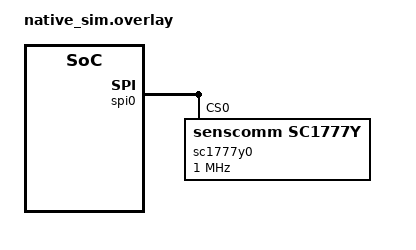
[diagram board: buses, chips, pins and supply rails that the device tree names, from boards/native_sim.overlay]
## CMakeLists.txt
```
# SPDX-FileCopyrightText: Copyright The Zephyr Project Contributors
# SPDX-License-Identifier: Apache-2.0

cmake_minimum_required(VERSION 3.20.0)
find_package(Zephyr REQUIRED HINTS $ENV{ZEPHYR_BASE})
project(sc1777y_secure_channel)

target_sources(app PRIVATE
	src/test_channel.c
	src/test_gateway.c
	src/test_protocol.c
	src/test_record.c)
target_include_directories(app PRIVATE
	${ZEPHYR_BASE}/subsys/net/lib/sc1777y_secure_channel)
```

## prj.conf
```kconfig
# SPDX-FileCopyrightText: Copyright The Zephyr Project Contributors
# SPDX-License-Identifier: Apache-2.0

CONFIG_ZTEST=y
CONFIG_EMUL=y
CONFIG_SPI=y
CONFIG_SPI_EMUL=y
CONFIG_SC1777Y=y
CONFIG_SC1777Y_EMUL=y
CONFIG_NETWORKING=y
CONFIG_NET_DRIVERS=y
CONFIG_NET_SOCKETS=y
CONFIG_NET_IPV4=y
CONFIG_NET_IPV6=y
CONFIG_NET_LOOPBACK=y
CONFIG_NET_TCP=y
CONFIG_NET_MAX_CONN=64
CONFIG_NET_MAX_CONTEXTS=64
CONFIG_SC1777Y_SECURE_CHANNEL=y
```

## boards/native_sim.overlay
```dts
/*
 * SPDX-FileCopyrightText: Copyright The Zephyr Project Contributors
 * SPDX-License-Identifier: Apache-2.0
 */

/ {
	aliases {
		sc1777y-0 = &sc1777y0;
	};
};

&spi0 {
	sc1777y0: sc1777y@0 {
		compatible = "senscomm,sc1777y";
		reg = <0>;
		spi-max-frequency = <1000000>;
	};
};
```

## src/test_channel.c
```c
/*
 * SPDX-FileCopyrightText: Copyright The Zephyr Project Contributors
 * SPDX-License-Identifier: Apache-2.0
 */

#include <string.h>

#include <zephyr/net/sc1777y_secure_channel.h>
#include <zephyr/ztest.h>

#include "test_gateway.h"

#define SC1777Y_NODE DT_ALIAS(sc1777y_0)

static const uint8_t certificate[] = {0x01};
static const uint8_t maximum_certificate[SC1777Y_SECURE_MAX_CERTIFICATE_LEN];
static const uint8_t platform_public_key[SC1777Y_PLATFORM_PUBLIC_KEY_LEN] = {0};
static const uint8_t zero_tx_work[SC1777Y_SECURE_MAX_HANDSHAKE_LEN];
static const uint8_t zero_rx_record[SC1777Y_SECURE_MAX_RECORD_LEN];
static const uint8_t zero_plain_cache[SC1777Y_SECURE_MAX_PLAINTEXT_CHUNK];

static struct sc1777y_secure_channel_config valid_config(struct sockaddr_in *gateway)
{
	*gateway = (struct sockaddr_in){
		.sin_family = AF_INET,
		.sin_port = htons(443),
		.sin_addr.s_addr = htonl(0x7f000001U),
	};

	return (struct sc1777y_secure_channel_config){
		.sc1777y = DEVICE_DT_GET(SC1777Y_NODE),
		.gateway = (const struct sockaddr *)gateway,
		.gateway_len = sizeof(*gateway),
		.connect_timeout_ms = 1000,
		.io_timeout_ms = 1000,
		.certificate = certificate,
		.certificate_len = sizeof(certificate),
		.platform_public_key = platform_public_key,
		.platform_type = SC1777Y_PLATFORM_NANRUI,
	};
}

static void test_channel_config(struct sc1777y_secure_channel_config *config,
				const struct sockaddr *gateway)
{
	struct sockaddr_in unused;

	*config = valid_config(&unused);
	config->gateway = gateway;
	config->gateway_len = sizeof(struct sockaddr_in);
}

static void assert_transient_state_cleared(const struct sc1777y_secure_channel *channel)
{
	zassert_mem_equal(channel->tx_work, zero_tx_work, sizeof(channel->tx_work));
	zassert_mem_equal(channel->rx_record, zero_rx_record, sizeof(channel->rx_record));
	zassert_mem_equal(channel->plain_cache, zero_plain_cache, sizeof(channel->plain_cache));
	zassert_equal(0, channel->header_used);
	zassert_equal(0, channel->record_expected);
	zassert_equal(0, channel->record_used);
	zassert_equal(0, channel->plain_offset);
	zassert_equal(0, channel->plain_len);
}

ZTEST(sc1777y_secure_channel, test_init_rejects_null_arguments)
{
	struct sc1777y_secure_channel channel;
	struct sc1777y_secure_channel_config config = {0};

	zassert_equal(-EINVAL, sc1777y_secure_channel_init(NULL, &config));
	zassert_equal(-EINVAL, sc1777y_secure_channel_init(&channel, NULL));
}

ZTEST(sc1777y_secure_channel, test_init_rejects_invalid_device_and_gateway)
{
	struct sc1777y_secure_channel channel;
	struct sockaddr_in gateway;
	struct sc1777y_secure_channel_config config = valid_config(&gateway);

	config.sc1777y = NULL;
	zassert_equal(-EINVAL, sc1777y_secure_channel_init(&channel, &config));

	config = valid_config(&gateway);
	config.gateway = NULL;
	zassert_equal(-EINVAL, sc1777y_secure_channel_init(&channel, &config));

	config = valid_config(&gateway);
	gateway.sin_family = AF_UNSPEC;
	zassert_equal(-EAFNOSUPPORT, sc1777y_secure_channel_init(&channel, &config));

	config = valid_config(&gateway);
	config.gateway_len = sizeof(gateway) - 1U;
	zassert_equal(-EINVAL, sc1777y_secure_channel_init(&channel, &config));
}

ZTEST(sc1777y_secure_channel, test_init_rejects_invalid_timeouts_and_credentials)
{
	struct sc1777y_secure_channel channel;
	struct sockaddr_in gateway;
	struct sc1777y_secure_channel_config config = valid_config(&gateway);

	config.connect_timeout_ms = 0;
	zassert_equal(-EINVAL, sc1777y_secure_channel_init(&channel, &config));

	config = valid_config(&gateway);
	config.io_timeout_ms = -1;
	zassert_equal(-EINVAL, sc1777y_secure_channel_init(&channel, &config));

	config = valid_config(&gateway);
	config.certificate = NULL;
	zassert_equal(-EINVAL, sc1777y_secure_channel_init(&channel, &config));

	config = valid_config(&gateway);
	config.certificate_len = 0;
	zassert_equal(-EINVAL, sc1777y_secure_channel_init(&channel, &config));

	config = valid_config(&gateway);
	config.certificate_len = SC1777Y_SECURE_MAX_CERTIFICATE_LEN + 1U;
	zassert_equal(-EMSGSIZE, sc1777y_secure_channel_init(&channel, &config));

	config = valid_config(&gateway);
	config.platform_public_key = NULL;
	zassert_equal(-EINVAL, sc1777y_secure_channel_init(&channel, &config));
}

ZTEST(sc1777y_secure_channel, test_init_accepts_maximum_certificate_length)
{
	struct sc1777y_secure_channel channel;
	struct sockaddr_in gateway;
	struct sc1777y_secure_channel_config config = valid_config(&gateway);

	config.certificate = maximum_certificate;
	config.certificate_len = sizeof(maximum_certificate);
	zassert_ok(sc1777y_secure_channel_init(&channel, &config));
}

ZTEST(sc1777y_secure_channel, test_init_rejects_unsupported_platform_types)
{
	struct sc1777y_secure_channel channel;
	struct sockaddr_in gateway;
	struct sc1777y_secure_channel_config config = valid_config(&gateway);

	config.platform_type = SC1777Y_PLATFORM_UNSET;
	zassert_equal(-EINVAL, sc1777y_secure_channel_init(&channel, &config));

	config = valid_config(&gateway);
	config.platform_type = (enum sc1777y_platform_type)3;
	zassert_equal(-EINVAL, sc1777y_secure_channel_init(&channel, &config));
}

ZTEST(sc1777y_secure_channel, test_init_copies_config_and_initializes_context)
{
	struct sc1777y_secure_channel channel;
	struct sockaddr_in gateway;
	struct sc1777y_secure_channel_config config = valid_config(&gateway);

	zassert_true(device_is_ready(config.sc1777y));
	zassert_ok(sc1777y_secure_channel_init(&channel, &config));
	zassert_not_equal(channel.config.gateway, config.gateway);
	zassert_equal(channel.config.gateway, (const struct sockaddr *)&channel.gateway_storage);
	zassert_mem_equal(channel.config.gateway, &gateway, sizeof(gateway));
	zassert_equal(channel.config.certificate, certificate);
	zassert_equal(channel.config.platform_public_key, platform_public_key);
	zassert_equal(channel.socket_fd, -1);
	zassert_equal(sc1777y_secure_channel_get_state(&channel),
		      SC1777Y_SECURE_CHANNEL_DISCONNECTED);
	zassert_equal(channel.header_used, 0);
	zassert_equal(channel.record_expected, 0);
	zassert_equal(channel.record_used, 0);
	zassert_equal(channel.plain_offset, 0);
	zassert_equal(channel.plain_len, 0);
	zassert_ok(k_mutex_lock(&channel.tx_lock, K_NO_WAIT));
	zassert_ok(k_mutex_unlock(&channel.tx_lock));
	zassert_ok(k_mutex_lock(&channel.rx_lock, K_NO_WAIT));
	zassert_ok(k_mutex_unlock(&channel.rx_lock));
	zassert_ok(k_mutex_lock(&channel.crypto_lock, K_NO_WAIT));
	zassert_ok(k_mutex_unlock(&channel.crypto_lock));
}

ZTEST(sc1777y_secure_channel, test_init_accepts_and_copies_ipv6_gateway)
{
	struct sc1777y_secure_channel channel;
	struct sockaddr_in gateway;
	struct sockaddr_in6 gateway6 = {
		.sin6_family = AF_INET6,
		.sin6_port = htons(443),
		.sin6_addr.s6_addr = {0, 0, 0, 0, 0, 0, 0, 0, 0, 0, 0, 0, 0, 0, 0, 1},
	};
	struct sc1777y_secure_channel_config config = valid_config(&gateway);

	config.gateway = (const struct sockaddr *)&gateway6;
	config.gateway_len = sizeof(gateway6);

	zassert_ok(sc1777y_secure_channel_init(&channel, &config));
	zassert_equal(channel.config.gateway, (const struct sockaddr *)&channel.gateway_storage);
	zassert_mem_equal(channel.config.gateway, &gateway6, sizeof(gateway6));
}

ZTEST(sc1777y_secure_channel, test_connect_completes_handshake_before_return)
{
	struct test_gateway gateway;
	struct sc1777y_secure_channel channel;
	struct sc1777y_secure_channel_config config;
	int ret;

	test_gateway_start(&gateway, TEST_GATEWAY_SUCCESS);
	test_channel_config(&config, test_gateway_address(&gateway));
	zassert_ok(sc1777y_secure_channel_init(&channel, &config));
	ret = sc1777y_secure_channel_connect(&channel);
	zassert_ok(ret, "connect failed: %d", ret);
	zassert_equal(SC1777Y_SECURE_CHANNEL_ESTABLISHED,
		      sc1777y_secure_channel_get_state(&channel));
	zassert_true(test_gateway_saw_confirm(&gateway));
	zassert_mem_equal(channel.tx_work, zero_tx_work, sizeof(channel.tx_work));
	zassert_ok(sc1777y_secure_channel_close(&channel));
}

ZTEST(sc1777y_secure_channel, test_blocking_handshake_timeout_fails_channel)
{
	struct test_gateway gateway;
	struct sc1777y_secure_channel channel;
	struct sc1777y_secure_channel_config config;

	test_gateway_start(&gateway, TEST_GATEWAY_HANDSHAKE_STALL);
	test_channel_config(&config, test_gateway_address(&gateway));
	config.io_timeout_ms = 50;
	zassert_ok(sc1777y_secure_channel_init(&channel, &config));
	memset(channel.tx_work, 0x5a, sizeof(channel.tx_work));
	zassert_equal(-ETIMEDOUT, sc1777y_secure_channel_connect(&channel));
	zassert_equal(SC1777Y_SECURE_CHANNEL_FAILED,
		      sc1777y_secure_channel_get_state(&channel));
	zassert_equal(-1, channel.socket_fd);
	assert_transient_state_cleared(&channel);
	test_gateway_wait(&gateway);
}

ZTEST(sc1777y_secure_channel, test_send_before_connect_returns_not_connected)
{
	struct sc1777y_secure_channel channel;
	struct sockaddr_in gateway;
	struct sc1777y_secure_channel_config config = valid_config(&gateway);
	const uint8_t byte = 0x5a;

	zassert_ok(sc1777y_secure_channel_init(&channel, &config));
	zassert_equal(-ENOTCONN, sc1777y_secure_channel_send(&channel, &byte, sizeof(byte)));
}

ZTEST(sc1777y_secure_channel, test_connect_rejects_an_established_channel)
{
	struct test_gateway gateway;
	struct sc1777y_secure_channel channel;
	struct sc1777y_secure_channel_config config;

	test_gateway_start(&gateway, TEST_GATEWAY_SUCCESS);
	test_channel_config(&config, test_gateway_address(&gateway));
	zassert_ok(sc1777y_secure_channel_init(&channel, &config));
	zassert_ok(sc1777y_secure_channel_connect(&channel));
	zassert_equal(-EALREADY, sc1777y_secure_channel_connect(&channel));
	zassert_equal(SC1777Y_SECURE_CHANNEL_ESTABLISHED,
		      sc1777y_secure_channel_get_state(&channel));
	zassert_ok(sc1777y_secure_channel_close(&channel));
	test_gateway_wait(&gateway);
}

ZTEST(sc1777y_secure_channel, test_close_is_idempotent_before_connect)
{
	struct sc1777y_secure_channel channel;
	struct sockaddr_in gateway;
	struct sc1777y_secure_channel_config config = valid_config(&gateway);

	zassert_ok(sc1777y_secure_channel_init(&channel, &config));
	memset(channel.tx_work, 0x5a, sizeof(channel.tx_work));
	memset(channel.rx_record, 0x5a, sizeof(channel.rx_record));
	memset(channel.plain_cache, 0x5a, sizeof(channel.plain_cache));
	channel.header_used = 1U;
	channel.record_expected = 36U;
	channel.record_used = 4U;
	channel.plain_offset = 1U;
	channel.plain_len = 2U;

	zassert_ok(sc1777y_secure_channel_close(&channel));
	zassert_equal(SC1777Y_SECURE_CHANNEL_CLOSED,
		      sc1777y_secure_channel_get_state(&channel));
	zassert_equal(-1, channel.socket_fd);
	assert_transient_state_cleared(&channel);

	zassert_ok(sc1777y_secure_channel_close(&channel));
	zassert_equal(SC1777Y_SECURE_CHANNEL_CLOSED,
		      sc1777y_secure_channel_get_state(&channel));
	assert_transient_state_cleared(&channel);
}

static void expect_gateway_failure(enum test_gateway_mode mode, int expected_error)
{
	struct test_gateway gateway;
	struct sc1777y_secure_channel channel;
	struct sc1777y_secure_channel_config config;
	int ret;

	test_gateway_start(&gateway, mode);
	test_channel_config(&config, test_gateway_address(&gateway));
	zassert_ok(sc1777y_secure_channel_init(&channel, &config));
	ret = sc1777y_secure_channel_connect(&channel);
	zassert_equal(expected_error, ret, "mode %d: expected %d, got %d", mode,
		      expected_error, ret);
	zassert_equal(SC1777Y_SECURE_CHANNEL_FAILED,
		      sc1777y_secure_channel_get_state(&channel));
	zassert_equal(-1, channel.socket_fd);
	test_gateway_wait(&gateway);
}

ZTEST(sc1777y_secure_channel, test_connect_rejects_malformed_responses)
{
	expect_gateway_failure(TEST_GATEWAY_WRONG_SUBTYPE, -EPROTO);
	expect_gateway_failure(TEST_GATEWAY_WRONG_LENGTH, -EPROTO);
	expect_gateway_failure(TEST_GATEWAY_WRONG_SN, -EPROTO);
}

ZTEST(sc1777y_secure_channel, test_connect_fails_when_response_is_short_or_peer_closes)
{
	expect_gateway_failure(TEST_GATEWAY_SHORT_RESPONSE, -ECONNRESET);
	expect_gateway_failure(TEST_GATEWAY_PEER_CLOSE, -ECONNRESET);
}

ZTEST(sc1777y_secure_channel, test_failed_connect_requires_close_before_reconnect)
{
	struct test_gateway gateway;
	struct sc1777y_secure_channel channel;
	struct sc1777y_secure_channel_config config;

	test_gateway_start(&gateway, TEST_GATEWAY_WRONG_SUBTYPE);
	test_channel_config(&config, test_gateway_address(&gateway));
	zassert_ok(sc1777y_secure_channel_init(&channel, &config));
	zassert_equal(-EPROTO, sc1777y_secure_channel_connect(&channel));
	test_gateway_wait(&gateway);
	zassert_equal(SC1777Y_SECURE_CHANNEL_FAILED,
		      sc1777y_secure_channel_get_state(&channel));
	zassert_equal(-EALREADY, sc1777y_secure_channel_connect(&channel));
	zassert_equal(SC1777Y_SECURE_CHANNEL_FAILED,
		      sc1777y_secure_channel_get_state(&channel));

	zassert_ok(sc1777y_secure_channel_close(&channel));
	test_gateway_start(&gateway, TEST_GATEWAY_SUCCESS);
	memcpy(&channel.gateway_storage, test_gateway_address(&gateway),
	       sizeof(struct sockaddr_in));
	zassert_ok(sc1777y_secure_channel_connect(&channel));
	zassert_equal(SC1777Y_SECURE_CHANNEL_ESTABLISHED,
		      sc1777y_secure_channel_get_state(&channel));
	zassert_ok(sc1777y_secure_channel_close(&channel));
	zassert_true(test_gateway_saw_confirm(&gateway));
}

ZTEST_SUITE(sc1777y_secure_channel, NULL, NULL, NULL, NULL, NULL);
```

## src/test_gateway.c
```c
/*
 * SPDX-FileCopyrightText: Copyright The Zephyr Project Contributors
 * SPDX-License-Identifier: Apache-2.0
 */

#include <errno.h>
#include <string.h>

#include <zephyr/sys/byteorder.h>
#include <zephyr/net/sc1777y_secure_channel.h>
#include <zephyr/ztest.h>

#include "test_gateway.h"

#define TEST_GATEWAY_RESPONSE_LEN 230U
#define TEST_GATEWAY_CONFIRM_LEN 184U
#define TEST_GATEWAY_RECORD_HEADER_LEN 4U
#define TEST_GATEWAY_RECORD_FIXED_LEN 20U
#define TEST_GATEWAY_CRYPTO_MASK 0xa5U

static int recv_exact(int fd, uint8_t *data, size_t len)
{
	size_t received = 0U;

	while (received < len) {
		ssize_t ret = zsock_recv(fd, &data[received], len - received, 0);

		if (ret > 0) {
			received += (size_t)ret;
			continue;
		}
		if (ret == 0) {
			return -ECONNRESET;
		}
		if (errno != EINTR) {
			return -errno;
		}
	}

	return 0;
}

static int send_all(int fd, const uint8_t *data, size_t len)
{
	size_t sent = 0U;

	while (sent < len) {
		ssize_t ret = zsock_send(fd, &data[sent], len - sent, 0);

		if (ret > 0) {
			sent += (size_t)ret;
			continue;
		}
		if (ret == 0) {
			return -ECONNRESET;
		}
		if (errno != EINTR) {
			return -errno;
		}
	}

	return 0;
}

static int send_fragmented_response(int fd, const uint8_t *response, size_t len)
{
	static const size_t fragment_sizes[] = {1U, 3U, 17U};
	size_t offset = 0U;
	int ret;

	for (size_t i = 0U; i < ARRAY_SIZE(fragment_sizes); ++i) {
		ret = send_all(fd, &response[offset], fragment_sizes[i]);
		if (ret < 0) {
			return ret;
		}
		offset += fragment_sizes[i];
		k_yield();
	}

	return send_all(fd, &response[offset], len - offset);
}

static int decode_plaintext(const uint8_t *record, size_t record_len, uint8_t *plaintext,
			    size_t plaintext_size, size_t *plaintext_len)
{
	size_t ciphertext_len;
	size_t marker;

	if ((record_len < TEST_GATEWAY_RECORD_FIXED_LEN) || (record[0] != 2U) ||
	    (record[1] != 0U) || (sys_get_be16(&record[2]) != record_len)) {
		return -EPROTO;
	}

	ciphertext_len = record_len - TEST_GATEWAY_RECORD_FIXED_LEN;
	if ((ciphertext_len == 0U) || ((ciphertext_len % SC1777Y_IV_LEN) != 0U) ||
	    (ciphertext_len > plaintext_size)) {
		return -EBADMSG;
	}

	for (size_t i = 0U; i < ciphertext_len; ++i) {
		plaintext[i] = record[TEST_GATEWAY_RECORD_FIXED_LEN + i] ^
			       TEST_GATEWAY_CRYPTO_MASK;
	}

	marker = ciphertext_len;
	while ((marker > 0U) && (plaintext[marker - 1U] == 0U)) {
		--marker;
	}
	if ((marker == 0U) || (plaintext[marker - 1U] != 0x80U) ||
	    (ciphertext_len - marker >= SC1777Y_IV_LEN)) {
		return -EBADMSG;
	}

	*plaintext_len = marker - 1U;
	return 0;
}

static size_t encode_record(const uint8_t *plaintext, size_t plaintext_len, uint8_t *record);

static int run_record_echo(struct test_gateway *gateway, int client_fd, uint8_t *record,
			   size_t record_size)
{
	uint8_t plaintext[SC1777Y_SECURE_MAX_CIPHERTEXT_LEN];
	size_t echo_offset = 0U;

	while (gateway->record_data_len < gateway->expected_plaintext_len) {
		size_t plaintext_len;
		size_t record_len;
		int ret;

		ret = recv_exact(client_fd, record, TEST_GATEWAY_RECORD_HEADER_LEN);
		if (ret < 0) {
			return ret;
		}
		record_len = sys_get_be16(&record[2]);
		if ((record_len < TEST_GATEWAY_RECORD_FIXED_LEN) || (record_len > record_size)) {
			return -EPROTO;
		}
		ret = recv_exact(client_fd, &record[TEST_GATEWAY_RECORD_HEADER_LEN],
				 record_len - TEST_GATEWAY_RECORD_HEADER_LEN);
		if (ret < 0) {
			return ret;
		}
		ret = decode_plaintext(record, record_len, plaintext, sizeof(plaintext),
				       &plaintext_len);
		if (ret < 0) {
			return ret;
		}
		if (plaintext_len > sizeof(gateway->record_data) - gateway->record_data_len) {
			return -EMSGSIZE;
		}
		memcpy(&gateway->record_data[gateway->record_data_len], plaintext, plaintext_len);
		gateway->record_data_len += plaintext_len;
		gateway->record_count++;
	}

	while (echo_offset < gateway->record_data_len) {
		size_t chunk_len = MIN(gateway->record_data_len - echo_offset,
				       SC1777Y_SECURE_MAX_PLAINTEXT_CHUNK);
		size_t record_len = encode_record(&gateway->record_data[echo_offset], chunk_len,
						  record);
		int ret = send_all(client_fd, record, record_len);

		if (ret < 0) {
			return ret;
		}
		echo_offset += chunk_len;
	}

	return 0;
}

static size_t encode_record(const uint8_t *plaintext, size_t plaintext_len, uint8_t *record)
{
	size_t ciphertext_len = ROUND_UP(plaintext_len + 1U, SC1777Y_IV_LEN);
	size_t record_len = TEST_GATEWAY_RECORD_FIXED_LEN + ciphertext_len;

	record[0] = 2U;
	record[1] = 0U;
	sys_put_be16((uint16_t)record_len, &record[2]);
	memset(&record[4], 0x3c, SC1777Y_IV_LEN);
	for (size_t i = 0U; i < ciphertext_len; ++i) {
		uint8_t padded = 0U;

		if (i < plaintext_len) {
			padded = plaintext[i];
		} else if (i == plaintext_len) {
			padded = 0x80U;
		}

		record[TEST_GATEWAY_RECORD_FIXED_LEN + i] = padded ^ TEST_GATEWAY_CRYPTO_MASK;
	}

	return record_len;
}

static int wait_for_peer_close(int client_fd)
{
	uint8_t byte;

	for (;;) {
		ssize_t ret = zsock_recv(client_fd, &byte, sizeof(byte), 0);

		if (ret == 0) {
			return 0;
		}
		if ((ret < 0) && (errno != EINTR)) {
			return -errno;
		}
	}
}

static int run_record_send(struct test_gateway *gateway, int client_fd, uint8_t *record)
{
	size_t offset = 0U;
	int ret;

	if (gateway->mode == TEST_GATEWAY_RECORD_HEADER_STALL) {
		return wait_for_peer_close(client_fd);
	}

	if (gateway->mode == TEST_GATEWAY_RECORD_PARTIAL_STALL) {
		(void)encode_record((const uint8_t *)"partial", 7U, record);

		ret = send_all(client_fd, record, TEST_GATEWAY_RECORD_HEADER_LEN + 3U);
		return ret < 0 ? ret : wait_for_peer_close(client_fd);
	}

	if (gateway->mode == TEST_GATEWAY_RECORD_BAD_PADDING) {
		memset(record, 0, 36U);
		record[0] = 2U;
		sys_put_be16(36U, &record[2]);
		memset(&record[4], 0x3c, SC1777Y_IV_LEN);
		memset(&record[TEST_GATEWAY_RECORD_FIXED_LEN], TEST_GATEWAY_CRYPTO_MASK,
		       SC1777Y_IV_LEN);
		ret = send_all(client_fd, record, 36U);
		return ret < 0 ? ret : wait_for_peer_close(client_fd);
	}

	if (gateway->mode == TEST_GATEWAY_RECORD_BAD_LENGTH) {
		memset(record, 0, 35U);
		record[0] = 2U;
		sys_put_be16(35U, &record[2]);
		memset(&record[4], 0x3c, SC1777Y_IV_LEN);
		ret = send_all(client_fd, record, 35U);
		return ret < 0 ? ret : wait_for_peer_close(client_fd);
	}

	if (gateway->mode == TEST_GATEWAY_RECORD_HALF_CLOSE) {
		memset(record, 0, 28U);
		record[0] = 2U;
		sys_put_be16(36U, &record[2]);
		memset(&record[4], 0x3c, SC1777Y_IV_LEN);
		return send_all(client_fd, record, 28U);
	}

	if (gateway->mode == TEST_GATEWAY_RECORD_EMPTY) {
		size_t record_len = encode_record(NULL, 0U, record);

		ret = send_all(client_fd, record, record_len);
		return ret < 0 ? ret : wait_for_peer_close(client_fd);
	}

	ret = k_sem_take(&gateway->record_ready, K_SECONDS(2));
	if (ret < 0) {
		return ret;
	}

	if (gateway->mode == TEST_GATEWAY_RECORD_COALESCED) {
		size_t wire_len = 0U;

		while (offset < gateway->record_data_len) {
			size_t chunk_len = MIN(gateway->record_data_len - offset,
					       SC1777Y_SECURE_MAX_PLAINTEXT_CHUNK);

			wire_len += encode_record(&gateway->record_data[offset], chunk_len,
						  &record[wire_len]);
			gateway->record_count++;
			offset += chunk_len;
		}
		ret = send_all(client_fd, record, wire_len);
		return ret < 0 ? ret : wait_for_peer_close(client_fd);
	}

	while (offset < gateway->record_data_len) {
		size_t chunk_len = MIN(gateway->record_data_len - offset,
				       SC1777Y_SECURE_MAX_PLAINTEXT_CHUNK);
		size_t record_len = encode_record(&gateway->record_data[offset], chunk_len, record);

		if (gateway->mode == TEST_GATEWAY_RECORD_FRAGMENTED) {
			ret = send_all(client_fd, record, 1U);
			if (ret == 0) {
				k_sem_give(&gateway->fragment_started);
				ret = k_sem_take(&gateway->fragment_continue, K_SECONDS(2));
			}
			for (size_t i = 1U; (ret == 0) && (i < record_len); ++i) {
				ret = send_all(client_fd, &record[i], 1U);
				k_yield();
			}
		} else {
			ret = send_all(client_fd, record, record_len);
		}
		if (ret < 0) {
			return ret;
		}
		gateway->record_count++;
		offset += chunk_len;
	}

	return wait_for_peer_close(client_fd);
}

static int run_gateway(struct test_gateway *gateway)
{
	uint8_t request[SC1777Y_SECURE_MAX_HANDSHAKE_LEN];
	uint8_t response[TEST_GATEWAY_RESPONSE_LEN] = {0};
	uint8_t confirm[TEST_GATEWAY_CONFIRM_LEN];
	uint16_t request_len;
	uint16_t request_sn;
	int client_fd;
	int ret;

	client_fd = zsock_accept(gateway->listen_fd, NULL, NULL);
	if (client_fd < 0) {
		return -errno;
	}
	gateway->connection_count++;

	ret = recv_exact(client_fd, request, 4U);
	if (ret < 0) {
		goto out;
	}

	request_len = sys_get_be16(&request[2]);
	if ((request_len < 8U) || (request_len > sizeof(request))) {
		ret = -EPROTO;
		goto out;
	}

	ret = recv_exact(client_fd, &request[4], request_len - 4U);
	if (ret < 0) {
		goto out;
	}

	if (gateway->mode == TEST_GATEWAY_PEER_CLOSE) {
		ret = 0;
		goto out;
	}
	if (gateway->mode == TEST_GATEWAY_HANDSHAKE_STALL) {
		ret = wait_for_peer_close(client_fd);
		goto out;
	}

	request_sn = sys_get_be16(&request[6]);
	response[0] = 1U;
	response[1] = gateway->mode == TEST_GATEWAY_WRONG_SUBTYPE ? 3U : 2U;
	sys_put_be16(gateway->mode == TEST_GATEWAY_WRONG_LENGTH ?
			     TEST_GATEWAY_RESPONSE_LEN - 1U : TEST_GATEWAY_RESPONSE_LEN,
		     &response[2]);
	sys_put_be16(gateway->mode == TEST_GATEWAY_WRONG_SN ? request_sn : request_sn + 1U,
		     &response[4]);
	for (size_t i = 6U; i < sizeof(response); ++i) {
		response[i] = (uint8_t)i;
	}

	if (gateway->mode == TEST_GATEWAY_SHORT_RESPONSE) {
		ret = send_all(client_fd, response, 21U);
		goto out;
	}

	ret = send_fragmented_response(client_fd, response, sizeof(response));
	if (ret < 0) {
		goto out;
	}

	if ((gateway->mode == TEST_GATEWAY_WRONG_SUBTYPE) ||
	    (gateway->mode == TEST_GATEWAY_WRONG_LENGTH) ||
	    (gateway->mode == TEST_GATEWAY_WRONG_SN)) {
		ret = 0;
		goto out;
	}

	ret = recv_exact(client_fd, confirm, sizeof(confirm));
	if (ret == 0) {
		gateway->saw_confirm = true;
	}
	if (ret < 0) {
		goto out;
	}
	if (gateway->mode == TEST_GATEWAY_RECORD_SEND_STALL) {
		k_msleep(250);
		ret = 0;
		goto out;
	}

	if (gateway->mode == TEST_GATEWAY_RECORD_ECHO) {
		ret = run_record_echo(gateway, client_fd, request, sizeof(request));
		if (ret == 0) {
			ret = wait_for_peer_close(client_fd);
		}
	} else if (gateway->mode == TEST_GATEWAY_RECORD_RECONNECT) {
		if (gateway->connection_count == 1U) {
			ret = run_record_send(gateway, client_fd, request);
		} else {
			ret = wait_for_peer_close(client_fd);
		}
	} else if (((gateway->mode >= TEST_GATEWAY_RECORD_SEND) &&
		    (gateway->mode <= TEST_GATEWAY_RECORD_EMPTY)) ||
		   (gateway->mode == TEST_GATEWAY_RECORD_HEADER_STALL) ||
		   (gateway->mode == TEST_GATEWAY_RECORD_PARTIAL_STALL)) {
		ret = run_record_send(gateway, client_fd, request);
	}

out:
	(void)zsock_close(client_fd);
	return ret;
}

static void gateway_thread(void *arg1, void *arg2, void *arg3)
{
	struct test_gateway *gateway = arg1;

	ARG_UNUSED(arg2);
	ARG_UNUSED(arg3);
	gateway->result = run_gateway(gateway);
	if ((gateway->result == 0) && (gateway->mode == TEST_GATEWAY_RECORD_RECONNECT)) {
		gateway->result = run_gateway(gateway);
	}
	(void)zsock_close(gateway->listen_fd);
	gateway->listen_fd = -1;
	k_sem_give(&gateway->done);
}

void test_gateway_start(struct test_gateway *gateway, enum test_gateway_mode mode)
{
	static uint16_t next_port = 42420U;
	socklen_t address_len = sizeof(gateway->address);
	uint16_t port = next_port++;

	memset(gateway, 0, sizeof(*gateway));
	gateway->mode = mode;
	gateway->listen_fd = zsock_socket(AF_INET, SOCK_STREAM, IPPROTO_TCP);
	zassert_true(gateway->listen_fd >= 0, "socket failed: %d", errno);

	gateway->address = (struct sockaddr_in){
		.sin_family = AF_INET,
		.sin_port = htons(port),
		.sin_addr.s_addr = htonl(0x7f000001U),
	};
	zassert_ok(zsock_bind(gateway->listen_fd,
			      (const struct sockaddr *)&gateway->address,
			      sizeof(gateway->address)),
		   "bind failed: %d", errno);
	zassert_ok(zsock_getsockname(gateway->listen_fd,
				     (struct sockaddr *)&gateway->address, &address_len),
		   "getsockname failed: %d", errno);
	zassert_ok(zsock_listen(gateway->listen_fd, 1), "listen failed: %d", errno);
	k_sem_init(&gateway->done, 0, 1);
	k_sem_init(&gateway->record_ready, 0, 1);
	k_sem_init(&gateway->fragment_started, 0, 1);
	k_sem_init(&gateway->fragment_continue, 0, 1);

	k_thread_create(&gateway->thread, gateway->stack,
			K_KERNEL_STACK_SIZEOF(gateway->stack), gateway_thread, gateway, NULL,
			NULL, K_PRIO_PREEMPT(0), 0, K_NO_WAIT);
}

const struct sockaddr *test_gateway_address(const struct test_gateway *gateway)
{
	return (const struct sockaddr *)&gateway->address;
}

void test_gateway_wait(struct test_gateway *gateway)
{
	if (gateway->joined) {
		return;
	}

	zassert_ok(k_sem_take(&gateway->done, K_SECONDS(2)), "gateway did not finish");
	zassert_ok(k_thread_join(&gateway->thread, K_SECONDS(2)), "gateway did not join");
	gateway->joined = true;
	zassert_ok(gateway->result, "gateway failed: %d", gateway->result);
}

bool test_gateway_saw_confirm(struct test_gateway *gateway)
{
	test_gateway_wait(gateway);
	return gateway->saw_confirm;
}

void test_gateway_expect_plaintext(struct test_gateway *gateway, size_t len)
{
	zassert_true(len <= sizeof(gateway->record_data));
	gateway->expected_plaintext_len = len;
}

void test_gateway_queue_plaintext(struct test_gateway *gateway, const uint8_t *data, size_t len)
{
	zassert_not_null(data);
	zassert_true(len <= sizeof(gateway->record_data));
	memcpy(gateway->record_data, data, len);
	gateway->record_data_len = len;
	k_sem_give(&gateway->record_ready);
}

void test_gateway_wait_fragment(struct test_gateway *gateway)
{
	zassert_ok(k_sem_take(&gateway->fragment_started, K_SECONDS(2)),
		   "gateway did not send first fragment");
}

void test_gateway_release_fragment(struct test_gateway *gateway)
{
	k_sem_give(&gateway->fragment_continue);
}

size_t test_gateway_record_count(const struct test_gateway *gateway)
{
	return gateway->record_count;
}

const uint8_t *test_gateway_record_data(const struct test_gateway *gateway)
{
	return gateway->record_data;
}
```

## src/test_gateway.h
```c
/*
 * SPDX-FileCopyrightText: Copyright The Zephyr Project Contributors
 * SPDX-License-Identifier: Apache-2.0
 */

#ifndef ZEPHYR_TESTS_NET_LIB_SC1777Y_SECURE_CHANNEL_UNIT_TEST_GATEWAY_H_
#define ZEPHYR_TESTS_NET_LIB_SC1777Y_SECURE_CHANNEL_UNIT_TEST_GATEWAY_H_

#include <stdbool.h>

#include <zephyr/kernel.h>
#include <zephyr/net/socket.h>

enum test_gateway_mode {
	TEST_GATEWAY_SUCCESS,
	TEST_GATEWAY_RECORD_ECHO,
	TEST_GATEWAY_RECORD_SEND,
	TEST_GATEWAY_RECORD_FRAGMENTED,
	TEST_GATEWAY_RECORD_COALESCED,
	TEST_GATEWAY_RECORD_BAD_PADDING,
	TEST_GATEWAY_RECORD_BAD_LENGTH,
	TEST_GATEWAY_RECORD_HALF_CLOSE,
	TEST_GATEWAY_RECORD_EMPTY,
	TEST_GATEWAY_RECORD_RECONNECT,
	TEST_GATEWAY_WRONG_SUBTYPE,
	TEST_GATEWAY_WRONG_LENGTH,
	TEST_GATEWAY_WRONG_SN,
	TEST_GATEWAY_SHORT_RESPONSE,
	TEST_GATEWAY_PEER_CLOSE,
	TEST_GATEWAY_HANDSHAKE_STALL,
	TEST_GATEWAY_RECORD_HEADER_STALL,
	TEST_GATEWAY_RECORD_PARTIAL_STALL,
	TEST_GATEWAY_RECORD_SEND_STALL,
};

struct test_gateway {
	struct sockaddr_in address;
	int listen_fd;
	int result;
	enum test_gateway_mode mode;
	bool saw_confirm;
	bool joined;
	size_t expected_plaintext_len;
	size_t record_data_len;
	size_t record_count;
	size_t connection_count;
	uint8_t record_data[4096];
	struct k_sem done;
	struct k_sem record_ready;
	struct k_sem fragment_started;
	struct k_sem fragment_continue;
	struct k_thread thread;

	K_KERNEL_STACK_MEMBER(stack, 8192);
};

void test_gateway_start(struct test_gateway *gateway, enum test_gateway_mode mode);
const struct sockaddr *test_gateway_address(const struct test_gateway *gateway);
bool test_gateway_saw_confirm(struct test_gateway *gateway);
void test_gateway_expect_plaintext(struct test_gateway *gateway, size_t len);
void test_gateway_queue_plaintext(struct test_gateway *gateway, const uint8_t *data, size_t len);
void test_gateway_wait_fragment(struct test_gateway *gateway);
void test_gateway_release_fragment(struct test_gateway *gateway);
size_t test_gateway_record_count(const struct test_gateway *gateway);
const uint8_t *test_gateway_record_data(const struct test_gateway *gateway);
void test_gateway_wait(struct test_gateway *gateway);

#endif /* ZEPHYR_TESTS_NET_LIB_SC1777Y_SECURE_CHANNEL_UNIT_TEST_GATEWAY_H_ */
```

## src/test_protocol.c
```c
/*
 * SPDX-FileCopyrightText: Copyright The Zephyr Project Contributors
 * SPDX-License-Identifier: Apache-2.0
 */

#include <errno.h>
#include <string.h>

#include "secure_channel_internal.h"
#include <zephyr/sys/byteorder.h>
#include <zephyr/ztest.h>

#define REQUEST_BODY_FIXED_LEN 170U
#define REQUEST_FIXED_LEN 234U
#define RESPONSE_LEN 230U
#define CONFIRM_LEN 184U
#define RECORD_FIXED_LEN 20U

static void fill_sequence(uint8_t *buf, size_t len, uint8_t first)
{
	for (size_t i = 0U; i < len; ++i) {
		buf[i] = first + i;
	}
}

ZTEST(sc1777y_secure_protocol, test_pad_full_block_adds_another_block)
{
	uint8_t buf[32] = {0};
	size_t padded_len = 0;

	zassert_ok(sc1777y_secure_pad(buf, 16, sizeof(buf), &padded_len));
	zassert_equal(32, padded_len);
	zassert_equal(0x80, buf[16]);
	zassert_mem_equal((uint8_t[15]) { 0 }, &buf[17], 15);
}

ZTEST(sc1777y_secure_protocol, test_pad_and_unpad_boundary_lengths)
{
	static const size_t lengths[] = {1U, 15U, 16U, 17U, 2047U};
	static const uint8_t zeros[16];
	uint8_t buf[SC1777Y_SECURE_MAX_CIPHERTEXT_LEN];

	for (size_t i = 0U; i < ARRAY_SIZE(lengths); ++i) {
		size_t padded_len = 0U;
		size_t plain_len = 0U;
		size_t expected_len = ROUND_UP(lengths[i] + 1U, SC1777Y_IV_LEN);

		memset(buf, 0x5a, sizeof(buf));
		zassert_ok(sc1777y_secure_pad(buf, lengths[i], sizeof(buf), &padded_len));
		zassert_equal(expected_len, padded_len);
		zassert_equal(0x80, buf[lengths[i]]);
		zassert_mem_equal(zeros, &buf[lengths[i] + 1U],
				  padded_len - lengths[i] - 1U);
		zassert_ok(sc1777y_secure_unpad(buf, padded_len, &plain_len));
		zassert_equal(lengths[i], plain_len);
	}
}

ZTEST(sc1777y_secure_protocol, test_padding_rejects_truncation_and_malformed_data)
{
	uint8_t short_buf[16] = {0};
	uint8_t all_zero[16] = {0};
	uint8_t wrong_marker[16] = {0x55};
	uint8_t excessive_padding[32] = {[0] = 0x80};
	size_t len = 0U;

	zassert_equal(-EMSGSIZE,
		      sc1777y_secure_pad(short_buf, sizeof(short_buf), sizeof(short_buf), &len));
	zassert_equal(-EBADMSG, sc1777y_secure_unpad(all_zero, sizeof(all_zero), &len));
	zassert_equal(-EBADMSG, sc1777y_secure_unpad(wrong_marker, sizeof(wrong_marker), &len));
	zassert_equal(-EBADMSG, sc1777y_secure_unpad(wrong_marker, 15U, &len));
	zassert_equal(-EBADMSG,
		      sc1777y_secure_unpad(excessive_padding, sizeof(excessive_padding), &len));
}

ZTEST(sc1777y_secure_protocol, test_request_golden_layout_and_network_byte_order)
{
	static const uint8_t certificate[] = {0xc0, 0xc1, 0xc2};
	static const uint8_t expected_header[] = {
		0x01, 0x01, 0x00, 0xed, 0x01, 0x00, 0x12, 0x34,
	};
	static const uint8_t signature[SC1777Y_SIGNATURE_LEN] = {[0] = 0xa5, [63] = 0x5a};
	struct sc1777y_secure_channel_config config = {
		.certificate = certificate,
		.certificate_len = sizeof(certificate),
	};
	uint8_t en_r1[SC1777Y_SESSION_RANDOM_LEN];
	uint8_t request[REQUEST_FIXED_LEN + sizeof(certificate)];
	size_t body_len = 0U;
	size_t request_len = 0U;

	fill_sequence(config.sim, sizeof(config.sim), 0x10);
	fill_sequence(config.device_id, sizeof(config.device_id), 0x30);
	fill_sequence(en_r1, sizeof(en_r1), 0x80);
	zassert_ok(sc1777y_secure_encode_request_body(&config, 0x1234, en_r1, request,
						       sizeof(request), &body_len));
	zassert_equal(REQUEST_BODY_FIXED_LEN + sizeof(certificate), body_len);
	zassert_mem_equal(expected_header, request, sizeof(expected_header));
	zassert_mem_equal(config.sim, &request[8], sizeof(config.sim));
	zassert_mem_equal(config.device_id, &request[24], sizeof(config.device_id));
	zassert_mem_equal(certificate, &request[42], sizeof(certificate));
	zassert_mem_equal(en_r1, &request[45], sizeof(en_r1));

	zassert_ok(sc1777y_secure_append_signature(request, sizeof(request), body_len,
						    signature, &request_len));
	zassert_equal(REQUEST_FIXED_LEN + sizeof(certificate), request_len);
	zassert_mem_equal(signature, &request[body_len], sizeof(signature));
}

ZTEST(sc1777y_secure_protocol, test_request_rejects_truncation)
{
	static const uint8_t certificate[] = {1U};
	struct sc1777y_secure_channel_config config = {
		.certificate = certificate,
		.certificate_len = sizeof(certificate),
	};
	uint8_t en_r1[SC1777Y_SESSION_RANDOM_LEN] = {0};
	uint8_t request[REQUEST_BODY_FIXED_LEN];
	uint8_t signature[SC1777Y_SIGNATURE_LEN] = {0};
	size_t len = 0U;

	zassert_equal(-EMSGSIZE,
		      sc1777y_secure_encode_request_body(&config, 1U, en_r1, request,
							 sizeof(request), &len));
	config.certificate_len = SC1777Y_SECURE_MAX_CERTIFICATE_LEN + 1U;
	zassert_equal(-EMSGSIZE,
		      sc1777y_secure_encode_request_body(&config, 1U, en_r1, request,
							 sizeof(request), &len));
	zassert_equal(-EMSGSIZE,
		      sc1777y_secure_append_signature(request, sizeof(request), sizeof(request),
						      signature, &len));
}

ZTEST(sc1777y_secure_protocol, test_decode_response_golden_layout)
{
	uint8_t response[RESPONSE_LEN] = {0x01, 0x02, 0x00, 0xe6, 0x12, 0x35};
	struct sc1777y_secure_handshake_response parsed;

	fill_sequence(&response[6], SC1777Y_AUTH_FACTOR_LEN, 0x10);
	fill_sequence(&response[38], SC1777Y_SESSION_RANDOM_LEN, 0x40);
	fill_sequence(&response[166], SC1777Y_SIGNATURE_LEN, 0xc0);
	zassert_ok(sc1777y_secure_decode_response(response, sizeof(response), 0x1234,
						    &parsed));
	zassert_equal(0x1235, parsed.sn);
	zassert_mem_equal(&response[6], parsed.auth_factor, sizeof(parsed.auth_factor));
	zassert_mem_equal(&response[38], parsed.en_r2, sizeof(parsed.en_r2));
	zassert_mem_equal(&response[166], parsed.signature, sizeof(parsed.signature));
}

ZTEST(sc1777y_secure_protocol, test_decode_response_rejects_wrong_sn)
{
	uint8_t response[230] = {0x01, 0x02, 0x00, 0xE6, 0x12, 0x35};
	struct sc1777y_secure_handshake_response parsed;

	zassert_equal(-EPROTO,
		sc1777y_secure_decode_response(response, sizeof(response), 0x1233, &parsed));
}

ZTEST(sc1777y_secure_protocol, test_decode_response_rejects_wrong_header_or_size)
{
	uint8_t response[RESPONSE_LEN] = {0x01, 0x02, 0x00, 0xe6, 0x00, 0x02};
	struct sc1777y_secure_handshake_response parsed;

	zassert_equal(-EPROTO,
		      sc1777y_secure_decode_response(response, sizeof(response) - 1U, 1U,
						      &parsed));
	response[0] = 2U;
	zassert_equal(-EPROTO,
		      sc1777y_secure_decode_response(response, sizeof(response), 1U, &parsed));
	response[0] = 1U;
	response[1] = 3U;
	zassert_equal(-EPROTO,
		      sc1777y_secure_decode_response(response, sizeof(response), 1U, &parsed));
	response[1] = 2U;
	response[3] = 0xe5;
	zassert_equal(-EPROTO,
		      sc1777y_secure_decode_response(response, sizeof(response), 1U, &parsed));
}

ZTEST(sc1777y_secure_protocol, test_confirm_golden_layout_and_network_byte_order)
{
	static const uint8_t expected_header[] = {0x01, 0x03, 0x00, 0xb8, 0x12, 0x36};
	uint8_t auth_result[SC1777Y_AUTH_RESPONSE_LEN];
	uint8_t dk_hash[SC1777Y_SESSION_DKHASH_LEN];
	uint8_t confirm[CONFIRM_LEN];
	size_t confirm_len = 0U;

	fill_sequence(auth_result, sizeof(auth_result), 0x10);
	fill_sequence(dk_hash, sizeof(dk_hash), 0xb0);
	zassert_ok(sc1777y_secure_encode_confirm(0x1234, auth_result, dk_hash, confirm,
						  sizeof(confirm), &confirm_len));
	zassert_equal(CONFIRM_LEN, confirm_len);
	zassert_mem_equal(expected_header, confirm, sizeof(expected_header));
	zassert_mem_equal(auth_result, &confirm[6], sizeof(auth_result));
	zassert_mem_equal(dk_hash, &confirm[152], sizeof(dk_hash));

	zassert_equal(-EMSGSIZE,
		      sc1777y_secure_encode_confirm(0x1234, auth_result, dk_hash, confirm,
						     sizeof(confirm) - 1U, &confirm_len));
}

ZTEST(sc1777y_secure_protocol, test_record_golden_layout_and_network_byte_order)
{
	static const uint8_t expected_header[] = {0x02, 0x00, 0x00, 0x34};
	uint8_t iv[SC1777Y_IV_LEN];
	uint8_t ciphertext[32];
	uint8_t record[RECORD_FIXED_LEN + sizeof(ciphertext)];
	size_t record_len = 0U;
	size_t decoded_record_len = 0U;
	size_t decoded_ciphertext_len = 0U;

	fill_sequence(iv, sizeof(iv), 0x20);
	fill_sequence(ciphertext, sizeof(ciphertext), 0x60);
	zassert_ok(sc1777y_secure_encode_record(iv, ciphertext, sizeof(ciphertext), record,
						 sizeof(record), &record_len));
	zassert_equal(RECORD_FIXED_LEN + sizeof(ciphertext), record_len);
	zassert_mem_equal(expected_header, record, sizeof(expected_header));
	zassert_mem_equal(iv, &record[4], sizeof(iv));
	zassert_mem_equal(ciphertext, &record[20], sizeof(ciphertext));
	zassert_ok(sc1777y_secure_decode_record_header(record, &decoded_record_len,
							 &decoded_ciphertext_len));
	zassert_equal(record_len, decoded_record_len);
	zassert_equal(sizeof(ciphertext), decoded_ciphertext_len);
}

ZTEST(sc1777y_secure_protocol, test_record_rejects_invalid_headers_and_lengths)
{
	uint8_t header[4] = {0x02, 0x00, 0x00, 0x24};
	uint8_t iv[SC1777Y_IV_LEN] = {0};
	uint8_t ciphertext[17] = {0};
	uint8_t record[RECORD_FIXED_LEN + sizeof(ciphertext)];
	size_t record_len = 0U;
	size_t ciphertext_len = 0U;

	header[0] = 1U;
	zassert_equal(-EPROTO,
		      sc1777y_secure_decode_record_header(header, &record_len, &ciphertext_len));
	header[0] = 2U;
	header[1] = 1U;
	zassert_equal(-EPROTO,
		      sc1777y_secure_decode_record_header(header, &record_len, &ciphertext_len));
	header[1] = 0U;
	sys_put_be16(RECORD_FIXED_LEN + 15U, &header[2]);
	zassert_equal(-EBADMSG,
		      sc1777y_secure_decode_record_header(header, &record_len, &ciphertext_len));
	sys_put_be16(RECORD_FIXED_LEN - 1U, &header[2]);
	zassert_equal(-EPROTO,
		      sc1777y_secure_decode_record_header(header, &record_len, &ciphertext_len));
	zassert_equal(-EINVAL,
		      sc1777y_secure_encode_record(iv, ciphertext, sizeof(ciphertext), record,
						    sizeof(record), &record_len));
	zassert_equal(-EMSGSIZE,
		      sc1777y_secure_encode_record(iv, ciphertext, 16U, record,
						    RECORD_FIXED_LEN + 15U, &record_len));
}

ZTEST_SUITE(sc1777y_secure_protocol, NULL, NULL, NULL, NULL, NULL);
```
